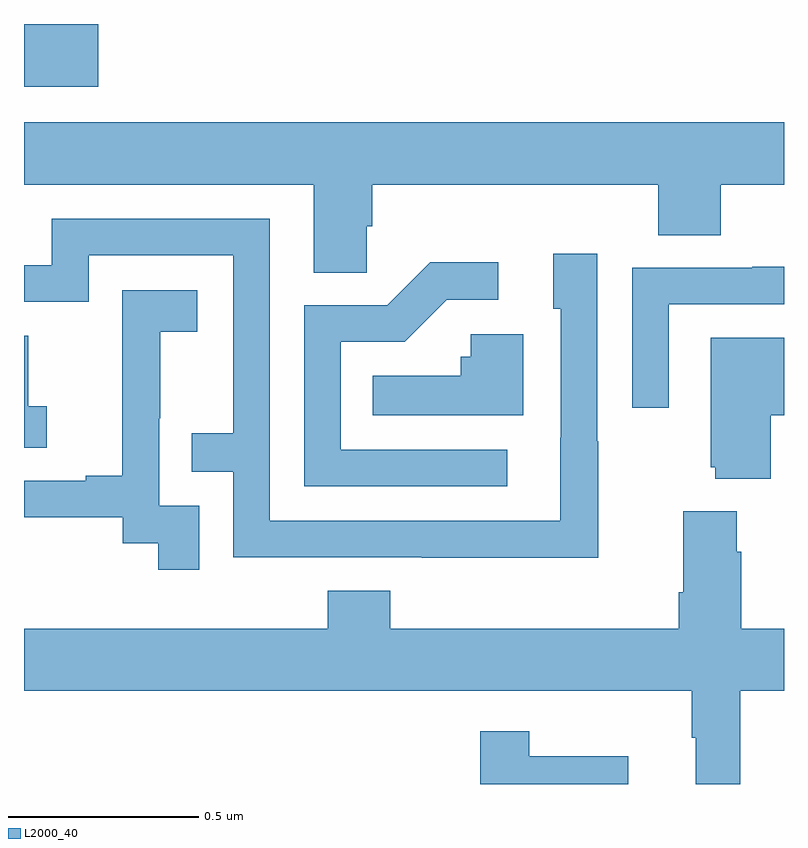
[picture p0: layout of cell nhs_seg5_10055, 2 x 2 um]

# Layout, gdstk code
import gdstk
lib = gdstk.Library(unit=1e-6, precision=1e-09)
def R(c, l, rs):  # rectangles x0, y0, x1, y1
    for r in rs: c.add(gdstk.rectangle(r[:2], r[2:], *l))
def P(c, l, *ps):  # polygons
    for p in ps: c.add(gdstk.Polygon(p, *l))
L2000_40 = (2000, 40)

nhs_seg5_10055 = lib.new_cell('nhs_seg5_10055')
R(nhs_seg5_10055, L2000_40, [(241,907.634,241.195,907.799)])
P(nhs_seg5_10055, L2000_40, [(241.902,907.267),(241.916,907.267),(241.916,907.376),(242.669,907.376),(242.669,907.243),(242.834,907.243),(242.834,907.376),(243,907.376),(243,907.54),(241,907.54),(241,907.376),(241.763,907.376),(241.763,907.144),(241.902,907.144)],
  [(242.511,906.701),(242.508,906.701),(242.508,907.195),(242.393,907.195),(242.393,907.05),(242.412,907.05),(242.412,906.71),(242.411,906.71),(242.411,906.492),(241.647,906.492),(241.647,907.287),(241.073,907.287),(241.073,907.164),(241,907.164),(241,907.068),(241.17,907.068),(241.17,907.191),(241.551,907.191),(241.551,906.722),(241.441,906.722),(241.441,906.621),(241.551,906.621),(241.551,906.396),(242.047,906.396),(242.047,906.395),(242.511,906.395)],
  [(242.272,906.678),(241.833,906.678),(241.833,906.963),(242.002,906.963),(242.113,907.074),(242.248,907.074),(242.248,907.172),(242.069,907.172),(241.956,907.059),(241.737,907.059),(241.737,906.582),(242.272,906.582)],
  [(242.697,907.062),(243,907.062),(243,907.16),(242.917,907.16),(242.917,907.158),(242.601,907.158),(242.601,906.789),(242.697,906.789)],
  [(241.461,906.531),(241.356,906.531),(241.356,906.761),(241.358,906.761),(241.358,906.989),(241.456,906.989),(241.456,907.099),(241.258,907.099),(241.258,906.893),(241.259,906.893),(241.259,906.61),(241.163,906.61),(241.163,906.597),(241,906.597),(241,906.501),(241.26,906.501),(241.26,906.433),(241.353,906.433),(241.353,906.363),(241.461,906.363)],
  [(242.314,906.982),(242.175,906.982),(242.175,906.924),(242.149,906.924),(242.149,906.874),(241.918,906.874),(241.918,906.77),(242.314,906.77)],
  [(241.06,906.793),(241.011,906.793),(241.011,906.978),(241,906.978),(241,906.684),(241.06,906.684)],
  [(242.965,906.77),(243,906.77),(243,906.973),(242.807,906.973),(242.807,906.633),(242.819,906.633),(242.819,906.602),(242.965,906.602)],
  [(242.885,906.044),(243,906.044),(243,906.208),(242.888,906.208),(242.888,906.41),(242.875,906.41),(242.875,906.517),(242.735,906.517),(242.735,906.304),(242.723,906.304),(242.723,906.208),(241.964,906.208),(241.964,906.307),(241.799,906.307),(241.799,906.208),(241,906.208),(241,906.044),(242.757,906.044),(242.757,905.921),(242.768,905.921),(242.768,905.799),(242.885,905.799)],
  [(242.59,905.872),(242.329,905.872),(242.329,905.938),(242.2,905.938),(242.2,905.799),(242.59,905.799)])

lib.write_gds('nhs_seg5_10055.gds')
